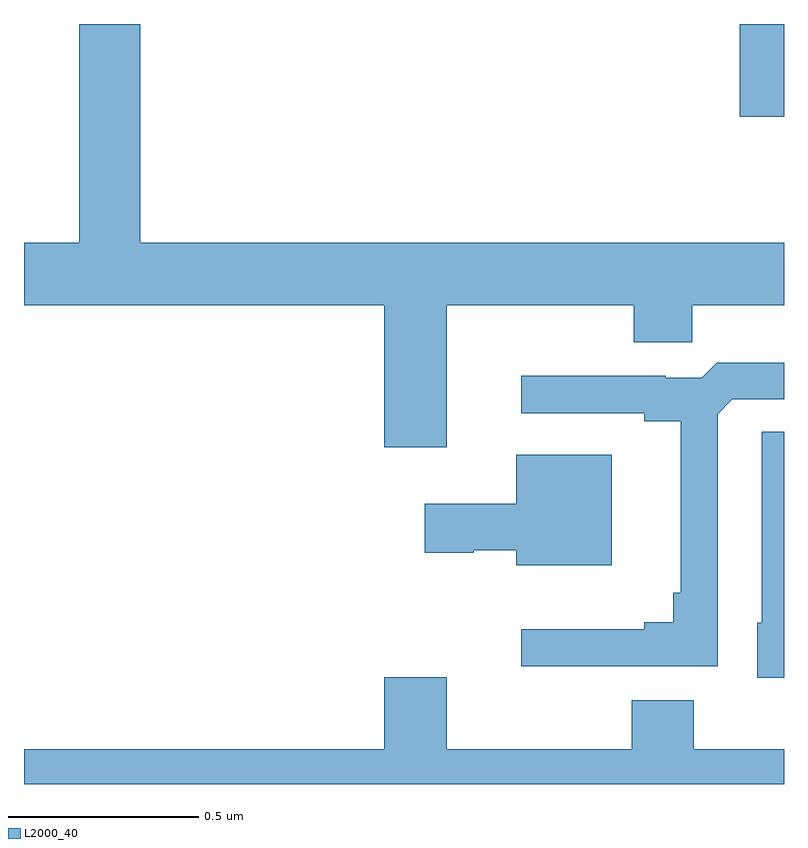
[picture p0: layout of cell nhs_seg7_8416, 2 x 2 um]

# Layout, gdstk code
import gdstk
lib = gdstk.Library(unit=1e-6, precision=1e-09)
def R(c, l, rs):  # rectangles x0, y0, x1, y1
    for r in rs: c.add(gdstk.rectangle(r[:2], r[2:], *l))
def P(c, l, *ps):  # polygons
    for p in ps: c.add(gdstk.Polygon(p, *l))
L2000_40 = (2000, 40)

nhs_seg7_8416 = lib.new_cell('nhs_seg7_8416')
R(nhs_seg7_8416, L2000_40, [(225.883,1023.756,226,1024)])
P(nhs_seg7_8416, L2000_40, [(225.112,1023.26),(225.604,1023.26),(225.604,1023.162),(225.759,1023.162),(225.759,1023.26),(226,1023.26),(226,1023.424),(224.306,1023.424),(224.306,1024),(224.146,1024),(224.146,1023.424),(224,1023.424),(224,1023.26),(224.948,1023.26),(224.948,1022.886),(225.112,1022.886)],
  [(225.825,1022.973),(225.864,1023.012),(226,1023.012),(226,1023.109),(225.823,1023.109),(225.783,1023.069),(225.689,1023.069),(225.689,1023.074),(225.309,1023.074),(225.309,1022.976),(225.632,1022.976),(225.632,1022.954),(225.728,1022.954),(225.728,1022.503),(225.709,1022.503),(225.709,1022.426),(225.632,1022.426),(225.632,1022.407),(225.309,1022.407),(225.309,1022.31),(225.825,1022.31)],
  [(226,1022.927),(225.942,1022.927),(225.942,1022.424),(225.929,1022.424),(225.929,1022.28),(226,1022.28)],
  [(225.547,1022.866),(225.296,1022.866),(225.296,1022.737),(225.054,1022.737),(225.054,1022.608),(225.183,1022.608),(225.183,1022.615),(225.296,1022.615),(225.296,1022.576),(225.547,1022.576)],
  [(226,1022.092),(225.763,1022.092),(225.763,1022.221),(225.599,1022.221),(225.599,1022.092),(225.112,1022.092),(225.112,1022.281),(224.948,1022.281),(224.948,1022.092),(224,1022.092),(224,1022),(226,1022)])

lib.write_gds('nhs_seg7_8416.gds')
